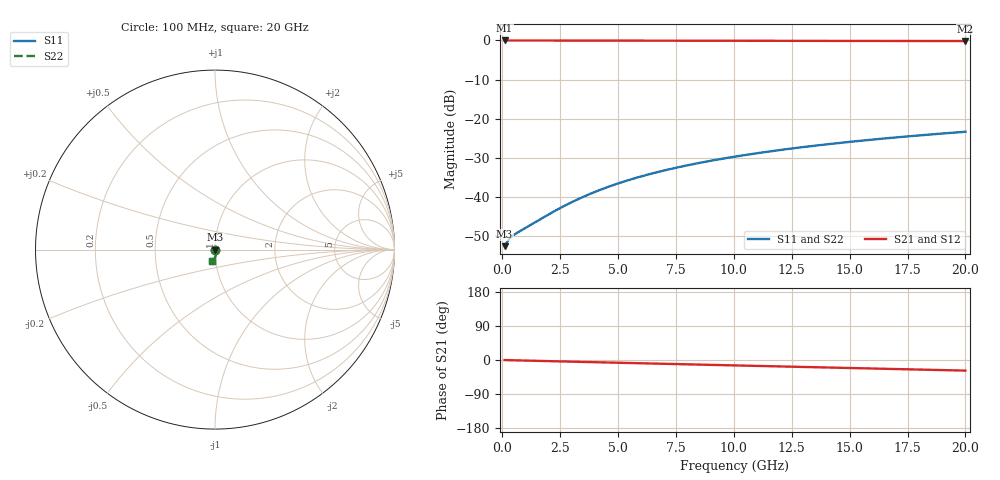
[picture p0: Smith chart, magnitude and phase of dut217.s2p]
! Touchstone file exported from HFSS 2026.1.0
!  File:  C:/ffzhzh/LocalFiles/Ansys_Project_Files/temp_train_BSMRDL_217_1782987988_6248.aedt
!  Generated:  06:27:35 PM Jul  2, 2026
!  Design:  BSMRDL
!  Project:  temp_train_BSMRDL_217_1782987988_6248
! Variables:
!  h_bsmrdl = 5.91um
!  h_ox = 20um
!  h_rdl = 5um
!  h_sub = 80um
!  h_tmrdl = 5um
!  h_tsv = 80um
!  h_via = 3um
!  l_bsmrdl = 506.94um
!  l_sub = 906.94um
!  l_tmrdl = 200um
!  m_sub = 200um
!  pitch = 17.56um
!  r_tsv = 6um
!  s_tmrdl = 10um
!  w_bsmrdl = 14.11um
!  w_sub = 500um
!  w_tmrdl = 12um
!  x_tsv_center1 = 206um
!  x_tsv_center2 = 727.05um
!  x_tsv_center3 = 939.05um
!  x_tsv_center4 = 1460.1um
!  x_tsv_center5 = 1672.1um
!  x_tsv_center6 = 2193.15um
# GHz S MA R 50.000000
! Terminal data exported
! Port[1] = BSM_RDL1_1_T1
! Port[2] = BSM_RDL1_1_T2
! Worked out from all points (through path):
!   200 points, 100 MHz to 20 GHz, reference 50 ohm
!   highest |S21| = -0.02 dB at 100 MHz (marker M1); lowest = -0.2 dB at 20 GHz (marker M2)
!   group delay of S21, straight-line fit = 3.86 ps
!   lowest |S11| = -52.6 dB at 100 MHz (marker M3), VSWR 1.00, Z = 50.2 + j0.021 ohm
!   |S11| at or under -10 dB: start of sweep to end of sweep
!   |S22| runs from -52.6 to -23.4 dB; largest |S21 - S12| = 4.5e-15
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0.1  0.002347 5.1  0.9977 -0.2  0.9977 -0.2  0.002347 5.1
! Gamma 0 0 0 0
! Port Impedance 50 0 50 0
0.2  0.002634 5.0  0.9974 -0.3  0.9974 -0.3  0.002634 5.0
0.3  0.002895 1.8  0.9971 -0.5  0.9971 -0.5  0.002895 1.8
0.4  0.003101 -2.5  0.9969 -0.6  0.9969 -0.6  0.003101 -2.5
0.6  0.003421 -10.7  0.9966 -0.9  0.9966 -0.9  0.003421 -10.7
2.3  0.006697 -46.6  0.9951 -3.4  0.9951 -3.4  0.006696 -46.6
2.9  0.008287 -52.3  0.9944 -4.3  0.9944 -4.3  0.008285 -52.3
3.5  0.01003 -56.8  0.9937 -5.1  0.9937 -5.1  0.01003 -56.8
4.2  0.01222 -61.1  0.9929 -6.1  0.9929 -6.1  0.01222 -61.1
5  0.01486 -65.2  0.992 -7.3  0.992 -7.3  0.01485 -65.2
5.9  0.01794 -69.2  0.9911 -8.5  0.9911 -8.5  0.01793 -69.2
6.8  0.02109 -72.7  0.9902 -9.8  0.9902 -9.8  0.02109 -72.7
7.5  0.02358 -75.2  0.9895 -10.8  0.9895 -10.8  0.02357 -75.2
8.3  0.02644 -77.8  0.9888 -11.9  0.9888 -11.9  0.02643 -77.8
9.2  0.02967 -80.4  0.9881 -13.1  0.9881 -13.1  0.02966 -80.5
10.1  0.03291 -82.9  0.9873 -14.4  0.9873 -14.4  0.0329 -82.9
11.7  0.03868 -86.9  0.9861 -16.6  0.9861 -16.6  0.03866 -87.0
13.4  0.04478 -90.7  0.9848 -18.9  0.9848 -18.9  0.04477 -90.8
15  0.05049 -94.1  0.9836 -21.1  0.9836 -21.1  0.05048 -94.1
16.7  0.05651 -97.4  0.9823 -23.5  0.9823 -23.5  0.05649 -97.5
18.3  0.06211 -100.4  0.9812 -25.7  0.9812 -25.7  0.06208 -100.5
20  0.06797 -103.4  0.9799 -28.0  0.9799 -28.0  0.06794 -103.5
